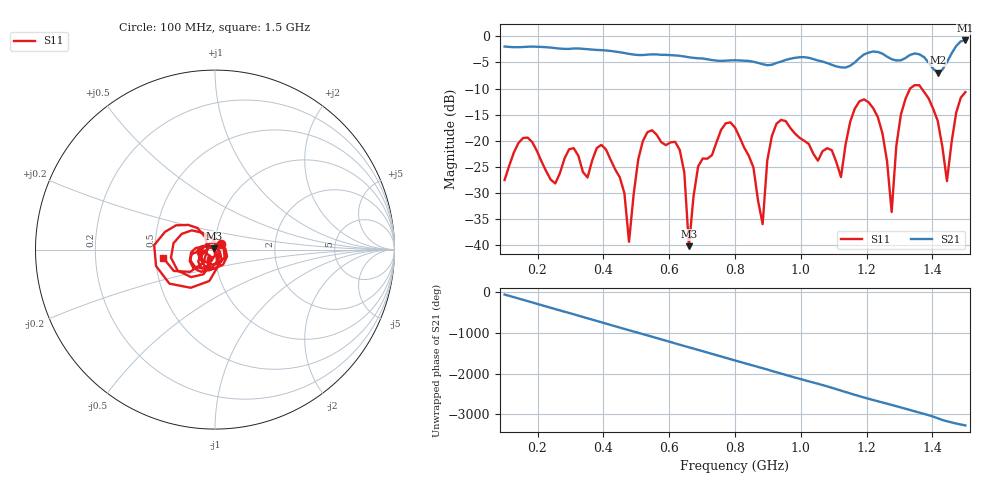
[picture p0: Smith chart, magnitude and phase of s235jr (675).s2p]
! NanoVNA-App
! Date: 2025-09-25 15:09:25
! Start: 100MHz Stop: 1,5GHz Points: 101
! S-Parameter data: F S11 S21 S12 S22
# Hz S RI R 50
!  Frequency  S11_Real  S11_Imag  S21_Real  S21_Imag  S12_Real  S12_Imag  S22_Real  S22_Imag
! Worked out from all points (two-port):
!   101 points, 100 MHz to 1.5 GHz, reference 50 ohm
!   highest |S21| = -0.80 dB at 1.5 GHz (marker M1); lowest = -7.0 dB at 1.416 GHz (marker M2)
!   |S21| within 3 dB of the highest: start of sweep to 638.8 MHz; 1.185 GHz to 1.26 GHz (74.18 MHz wide, 6.07 % of centre) (the widest 2 of 4)
!   lowest |S11| = -40.1 dB at 660 MHz (marker M3), VSWR 1.02, Z = 49.3 + j0.641 ohm
!   |S11| at or under -10 dB: start of sweep to 1.332 GHz; 1.367 GHz to end of sweep
!   S12 and S22 are empty: the file has one direction only
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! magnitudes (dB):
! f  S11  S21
! 100 MHz  -27.5  -2.0
! 156 MHz  -19.5  -2.1
! 338 MHz  -26.0  -2.4
! 408 MHz  -21.6  -2.7
! 478 MHz  -39.3  -3.4
! 520 MHz  -20.0  -3.6
! 576 MHz  -20.3  -3.5
! 632 MHz  -21.7  -3.7
! 660 MHz  -40.1  -4.0
! 688 MHz  -24.9  -4.2
! 800 MHz  -17.5  -4.6
! 884 MHz  -35.9  -5.3
! 926 MHz  -16.7  -5.1
! 1.038 GHz  -22.5  -4.4
! 1.122 GHz  -26.9  -5.9
! 1.206 GHz  -12.6  -3.1
! 1.276 GHz  -33.6  -4.4
! 1.304 GHz  -15.0  -4.6
! 1.332 GHz  -10.0  -3.6
! 1.416 GHz  -16.2  -7.0
! 1.444 GHz  -27.7  -5.0
! 1.5 GHz  -10.7  -0.8
